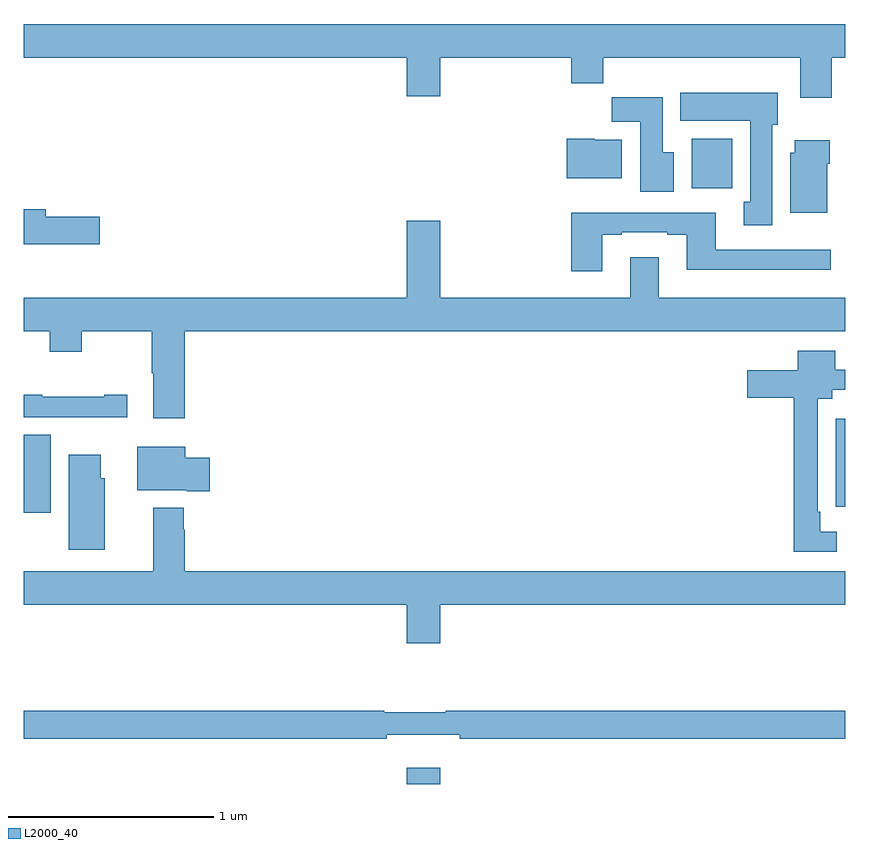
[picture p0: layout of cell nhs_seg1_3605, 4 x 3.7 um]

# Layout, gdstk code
import gdstk
lib = gdstk.Library(unit=1e-6, precision=1e-09)
def R(c, l, rs):  # rectangles x0, y0, x1, y1
    for r in rs: c.add(gdstk.rectangle(r[:2], r[2:], *l))
def P(c, l, *ps):  # polygons
    for p in ps: c.add(gdstk.Polygon(p, *l))
L2000_40 = (2000, 40)

nhs_seg1_3605 = lib.new_cell('nhs_seg1_3605')
R(nhs_seg1_3605, L2000_40, [(308.864,544.199,309.028,544.279), (307,545.52,307.132,545.9), (310.955,545.55,311,545.977), (310.253,547.1,310.45,547.342)])
P(nhs_seg1_3605, L2000_40, [(307,547.736),(308.864,547.736),(308.864,547.548),(309.028,547.548),(309.028,547.736),(309.665,547.736),(309.665,547.612),(309.821,547.612),(309.821,547.736),(310.781,547.736),(310.781,547.542),(310.934,547.542),(310.934,547.736),(311,547.736),(311,547.9),(307,547.9)],
  [(310.645,547.41),(310.672,547.41),(310.672,547.564),(310.196,547.564),(310.196,547.43),(310.538,547.43),(310.538,547.034),(310.505,547.034),(310.505,546.921),(310.645,546.921)],
  [(310.165,547.276),(310.111,547.276),(310.111,547.543),(309.862,547.543),(309.862,547.424),(310.001,547.424),(310.001,547.083),(310.165,547.083)],
  [(309.913,547.336),(309.78,547.336),(309.78,547.342),(309.644,547.342),(309.644,547.148),(309.913,547.148)],
  [(310.912,547.22),(310.925,547.22),(310.925,547.333),(310.754,547.333),(310.754,547.272),(310.733,547.272),(310.733,546.98),(310.912,546.98)],
  [(307.369,546.962),(307.108,546.962),(307.108,546.998),(307,546.998),(307,546.827),(307.369,546.827)],
  [(309.817,546.873),(309.913,546.873),(309.913,546.885),(310.133,546.885),(310.133,546.873),(310.229,546.873),(310.229,546.704),(310.93,546.704),(310.93,546.801),(310.369,546.801),(310.369,546.981),(309.905,546.981),(309.905,546.982),(309.665,546.982),(309.665,546.696),(309.817,546.696)],
  [(307.784,546.404),(311,546.404),(311,546.568),(310.093,546.568),(310.093,546.763),(309.953,546.763),(309.953,546.568),(309.028,546.568),(309.028,546.943),(308.864,546.943),(308.864,546.568),(307,546.568),(307,546.404),(307.126,546.404),(307.126,546.305),(307.281,546.305),(307.281,546.404),(307.624,546.404),(307.624,546.2),(307.631,546.2),(307.631,545.979),(307.784,545.979)],
  [(310.96,545.427),(310.878,545.427),(310.878,545.524),(310.866,545.524),(310.866,546.074),(310.936,546.074),(310.936,546.12),(311,546.12),(311,546.216),(310.951,546.216),(310.951,546.31),(310.769,546.31),(310.769,546.214),(310.524,546.214),(310.524,546.08),(310.75,546.08),(310.75,545.331),(310.96,545.331)],
  [(307.504,546.094),(307.391,546.094),(307.391,546.084),(307.091,546.084),(307.091,546.094),(307,546.094),(307,545.985),(307.228,545.985),(307.228,545.984),(307.504,545.984)],
  [(307.906,545.788),(307.786,545.788),(307.786,545.842),(307.553,545.842),(307.553,545.63),(307.793,545.63),(307.793,545.625),(307.906,545.625)],
  [(307.393,545.688),(307.375,545.688),(307.375,545.803),(307.22,545.803),(307.22,545.34),(307.393,545.34)],
  [(309.028,545.072),(311,545.072),(311,545.236),(307.784,545.236),(307.784,545.438),(307.78,545.438),(307.78,545.545),(307.631,545.545),(307.631,545.236),(307,545.236),(307,545.072),(308.864,545.072),(308.864,544.884),(309.028,544.884)],
  [(308.768,544.439),(309.124,544.439),(309.124,544.42),(311,544.42),(311,544.556),(309.055,544.556),(309.055,544.549),(308.755,544.549),(308.755,544.556),(307,544.556),(307,544.42),(308.768,544.42)])

lib.write_gds('nhs_seg1_3605.gds')
